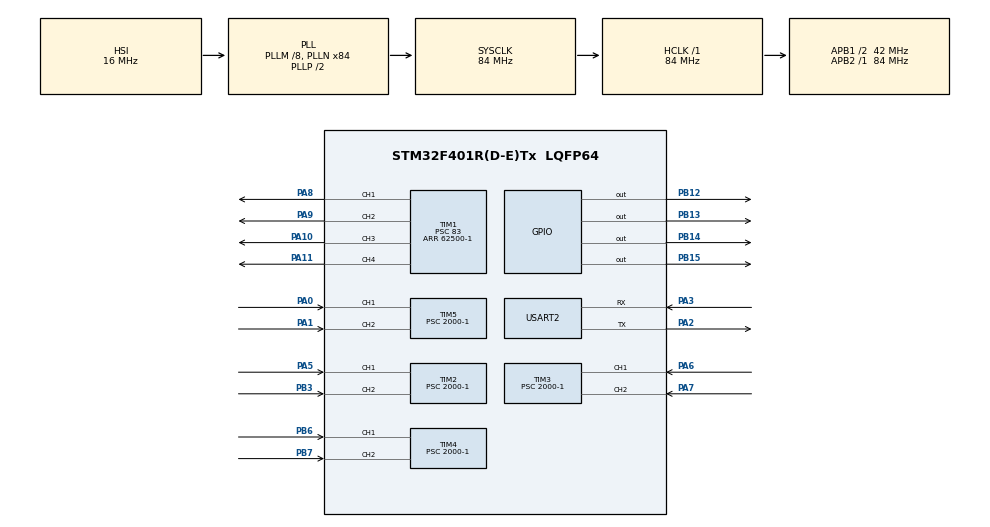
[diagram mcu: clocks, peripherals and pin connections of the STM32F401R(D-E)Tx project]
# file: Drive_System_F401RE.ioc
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Dma.Request0=USART2_RX
Dma.USART2_RX.0.Direction=DMA_PERIPH_TO_MEMORY
Dma.USART2_RX.0.FIFOMode=DMA_FIFOMODE_DISABLE
Dma.USART2_RX.0.Instance=DMA1_Stream5
Dma.USART2_RX.0.MemDataAlignment=DMA_MDATAALIGN_BYTE
Dma.USART2_RX.0.MemInc=DMA_MINC_ENABLE
Dma.USART2_RX.0.Mode=DMA_CIRCULAR
Dma.USART2_RX.0.PeriphDataAlignment=DMA_PDATAALIGN_BYTE
Dma.USART2_RX.0.PeriphInc=DMA_PINC_DISABLE
Dma.USART2_RX.0.Priority=DMA_PRIORITY_HIGH
Mcu.Family=STM32F4
Mcu.Name=STM32F401R(D-E)Tx
Mcu.Package=LQFP64
NVIC.DMA1_Stream5_IRQn=true\:0\:0\:false\:false\:true\:false\:true\:true
NVIC.PriorityGroup=NVIC_PRIORITYGROUP_4
NVIC.TIM1_BRK_TIM9_IRQn=true\:0\:0\:false\:false\:true\:true\:true\:true
NVIC.TIM2_IRQn=true\:0\:0\:false\:false\:true\:true\:true\:true
NVIC.TIM3_IRQn=true\:0\:0\:false\:false\:true\:true\:true\:true
NVIC.TIM4_IRQn=true\:0\:0\:false\:false\:true\:true\:true\:true
NVIC.TIM5_IRQn=true\:0\:0\:false\:false\:true\:true\:true\:true
PA0-WKUP.Signal=S_TIM5_CH1
PA1.Signal=S_TIM5_CH2
PA10.Signal=S_TIM1_CH3
PA11.Signal=S_TIM1_CH4
PA2.Mode=Asynchronous
PA2.Signal=USART2_TX
PA3.Mode=Asynchronous
PA3.Signal=USART2_RX
PA5.Signal=S_TIM2_CH1_ETR
PA6.Signal=S_TIM3_CH1
PA7.Signal=S_TIM3_CH2
PA8.Signal=S_TIM1_CH1
PA9.Signal=S_TIM1_CH2
PB12.Signal=GPIO_Output
PB13.Signal=GPIO_Output
PB14.Signal=GPIO_Output
PB15.Signal=GPIO_Output
PB3.Signal=S_TIM2_CH2
PB6.Signal=S_TIM4_CH1
PB7.Signal=S_TIM4_CH2
ProjectManager.HeapSize=0x200
ProjectManager.StackSize=0x400
ProjectManager.TargetToolchain=STM32CubeIDE
RCC.48MHZClocksFreq_Value=42000000
RCC.AHBFreq_Value=84000000
RCC.APB1CLKDivider=RCC_HCLK_DIV2
RCC.APB1Freq_Value=42000000
RCC.APB1TimFreq_Value=84000000
RCC.APB2Freq_Value=84000000
RCC.APB2TimFreq_Value=84000000
RCC.CortexFreq_Value=84000000
RCC.HCLKFreq_Value=84000000
RCC.HSE_VALUE=25000000
RCC.HSI_VALUE=16000000
RCC.LSE_VALUE=32768
RCC.PLLM=8
RCC.PLLN=84
RCC.SYSCLKFreq_VALUE=84000000
RCC.SYSCLKSource=RCC_SYSCLKSOURCE_PLLCLK
RCC.VCOOutputFreq_Value=168000000
SH.S_TIM1_CH1.0=TIM1_CH1,PWM Generation1 CH1
SH.S_TIM1_CH2.0=TIM1_CH2,PWM Generation2 CH2
SH.S_TIM1_CH3.0=TIM1_CH3,PWM Generation3 CH3
SH.S_TIM1_CH4.0=TIM1_CH4,PWM Generation4 CH4
SH.S_TIM2_CH1_ETR.0=TIM2_CH1,Input_Capture1_from_TI1
SH.S_TIM2_CH2.0=TIM2_CH2,Input_Capture2_from_TI2
SH.S_TIM3_CH1.0=TIM3_CH1,Input_Capture1_from_TI1
SH.S_TIM3_CH2.0=TIM3_CH2,Input_Capture2_from_TI2
SH.S_TIM4_CH1.0=TIM4_CH1,Input_Capture1_from_TI1
SH.S_TIM4_CH2.0=TIM4_CH2,Input_Capture2_from_TI2
SH.S_TIM5_CH1.0=TIM5_CH1,Input_Capture1_from_TI1
SH.S_TIM5_CH2.0=TIM5_CH2,Input_Capture2_from_TI2
TIM1.Channel-PWM\ Generation1\ CH1=TIM_CHANNEL_1
TIM1.Channel-PWM\ Generation2\ CH2=TIM_CHANNEL_2
TIM1.Channel-PWM\ Generation3\ CH3=TIM_CHANNEL_3
TIM1.Channel-PWM\ Generation4\ CH4=TIM_CHANNEL_4
TIM1.Period=62500-1
TIM1.Prescaler=83
TIM2.Channel-Input_Capture1_from_TI1=TIM_CHANNEL_1
TIM2.Channel-Input_Capture2_from_TI2=TIM_CHANNEL_2
TIM2.Period=42000-1
TIM2.Prescaler=2000-1
TIM3.Channel-Input_Capture1_from_TI1=TIM_CHANNEL_1
TIM3.Channel-Input_Capture2_from_TI2=TIM_CHANNEL_2
TIM3.Period=42000-1
TIM3.Prescaler=2000-1
TIM4.Channel-Input_Capture1_from_TI1=TIM_CHANNEL_1
TIM4.Channel-Input_Capture2_from_TI2=TIM_CHANNEL_2
TIM4.Period=42000-1
TIM4.Prescaler=2000-1
TIM5.Channel-Input_Capture1_from_TI1=TIM_CHANNEL_1
TIM5.Channel-Input_Capture2_from_TI2=TIM_CHANNEL_2
TIM5.Period=42000-1
TIM5.Prescaler=2000-1
TIM9.Period=42000-1
TIM9.Prescaler=20-1
USART2.VirtualMode=VM_ASYNC
VP_TIM9_VS_ClockSourceINT.Mode=Internal
board=custom

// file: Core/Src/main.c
/* USER CODE BEGIN Header */
/**
  ******************************************************************************
  * @file           : main.c
  * @brief          : Main program body
  ******************************************************************************
  * @attention
  *
  * Copyright (c) 2022 STMicroelectronics.
  * All rights reserved.
  *
  * This software is licensed under terms that can be found in the LICENSE file
  * in the root directory of this software component.
  * If no LICENSE file comes with this software, it is provided AS-IS.
  *
  ******************************************************************************
  */
/* USER CODE END Header */
#include "main.h"

/* USER CODE BEGIN Includes */
#include "DC_MOTORS.h"
#include "stdlib.h"
#include <stdbool.h>
#include <math.h>
/* USER CODE END Includes */

TIM_HandleTypeDef htim1;
TIM_HandleTypeDef htim2;
TIM_HandleTypeDef htim3;
TIM_HandleTypeDef htim4;
TIM_HandleTypeDef htim5;
TIM_HandleTypeDef htim9;

UART_HandleTypeDef huart2;
DMA_HandleTypeDef hdma_usart2_rx;

void SystemClock_Config(void);
static void MX_GPIO_Init(void);
static void MX_DMA_Init(void);
static void MX_TIM1_Init(void);
static void MX_USART2_UART_Init(void);
static void MX_TIM3_Init(void);
static void MX_TIM4_Init(void);
static void MX_TIM2_Init(void);
static void MX_TIM5_Init(void);
static void MX_TIM9_Init(void);

/* USER CODE BEGIN 0 */
volatile uint32_t LeftFront_EncoderCounter = 0;
volatile uint32_t RightFront_EncoderCounter = 0;

volatile uint32_t LeftRear_EncoderCounter = 0;
volatile uint32_t RightRear_EncoderCounter = 0;

volatile bool velocityCalculationFlag = true;

//--------------------- PID --------------------------------//

volatile bool pidFlag = false;

//float setVelocity = 3.2;

//--------------------- RX Data ----------------------------//
uint8_t rxbuff[8];
uint8_t txbuff[16];
uint8_t txempty;
uint8_t rxfull;

int32_t linear_number;
int32_t angular_number;

float linearVel_MeterDivSec = 0.0;
float angularVel_RadDivSec = 0.0;

int16_t speedLeftWHL = 0;
int16_t speedRightWHL = 0;

void HAL_UART_RxCpltCallback(UART_HandleTypeDef *huart){
  if (huart == &huart2)
  {
    rxfull = 1;
  }
}

//        //	HAL_TIM_ACTIVE_CHANNEL_1 ||------|| HAL_TIM_ACTIVE_CHANNEL_2
//        //	   	         				|  |
//        //		         				|  |
//        //	HAL_TIM_ACTIVE_CHANNEL_3 ||------|| HAL_TIM_ACTIVE_CHANNEL_4

void HAL_TIM_IC_CaptureCallback(TIM_HandleTypeDef *htim){

	 if((htim->Instance == TIM2) && (htim->Channel == HAL_TIM_ACTIVE_CHANNEL_1)){

		 LeftFront_EncoderCounter++;
//		if(velocityCalculationFlag_WHL_1){
//			//HAL_TIM_Base_Start_IT(&htim4);
//			velocityCalculationFlag_WHL_1 = false;
//		}
	 }
	 if((htim->Instance == TIM3) && (htim->Channel == HAL_TIM_ACTIVE_CHANNEL_1)){

		 RightFront_EncoderCounter++;
//		if(velocityCalculationFlag_WHL_2){
//			//HAL_TIM_Base_Start_IT(&htim4);
//			velocityCalculationFlag_WHL_2 = false;
//		}
	 }
	 if((htim->Instance == TIM4) && (htim->Channel == HAL_TIM_ACTIVE_CHANNEL_1)){

		 LeftRear_EncoderCounter++;
//		if(velocityCalculationFlag_WHL_3){
//			//HAL_TIM_Base_Start_IT(&htim4);
//			velocityCalculationFlag_WHL_3 = false;
//		}
	 }
	 if((htim->Instance == TIM5) && (htim->Channel == HAL_TIM_ACTIVE_CHANNEL_1)){

		 RightRear_EncoderCounter++;
//		if(velocityCalculationFlag_WHL_4){
//			//HAL_TIM_Base_Start_IT(&htim4);
//			velocityCalculationFlag_WHL_4 = false;
//		}
	 }
}

void HAL_TIM_PeriodElapsedCallback(TIM_HandleTypeDef *htim){

	velocityCalculationFlag = true;

//	HAL_TIM_Base_Stop_IT(&htim4);
}

/* USER CODE END 0 */

int main(void)
{
  /* USER CODE BEGIN 1 */

//        	0,2,4,6 IN1 for forward
//        	1,3,5,7 IN2 for backward
//
//          Left (+) a. vel.		Right (-) a. vel.
//
//        	Pin_B 0,1 ||------|| Pin_B 4,5
//        	   	         |  |
//        		         |  |
//        	Pin_B 2,3 ||------|| Pin_B 6,7

  /* USER CODE END 1 */

  /* MCU Configuration--------------------------------------------------------*/

  /* Reset of all peripherals, Initializes the Flash interface and the Systick. */
  HAL_Init();

  /* Configure the system clock */
  SystemClock_Config();

  /* Initialize all configured peripherals */
  MX_GPIO_Init();
  MX_DMA_Init();
  MX_TIM1_Init();
  MX_USART2_UART_Init();
  MX_TIM3_Init();
  MX_TIM4_Init();
  MX_TIM2_Init();
  MX_TIM5_Init();
  MX_TIM9_Init();
  /* USER CODE BEGIN 2 */
  HAL_TIM_PWM_Start(&htim1, TIM_CHANNEL_1);
  HAL_TIM_PWM_Start(&htim1, TIM_CHANNEL_2);
  HAL_TIM_PWM_Start(&htim1, TIM_CHANNEL_3);
  HAL_TIM_PWM_Start(&htim1, TIM_CHANNEL_4);

  /*------------------------ Encoders -------------------------*/
  HAL_TIM_IC_Start_IT(&htim2, TIM_CHANNEL_1);
  HAL_TIM_IC_Start_IT(&htim3, TIM_CHANNEL_1);
  HAL_TIM_IC_Start_IT(&htim4, TIM_CHANNEL_1);
  HAL_TIM_IC_Start_IT(&htim5, TIM_CHANNEL_1);
  HAL_TIM_Base_Start_IT(&htim9);

  struct WHEEL L_Front_WHL = {0, 0.0, 0.0, 0.0, 0.0, 0.0, 0.0, 0};
  struct WHEEL R_Front_WHL = {0, 0.0, 0.0, 0.0, 0.0, 0.0, 0.0, 0};
  struct WHEEL L_Rear_WHL = {0, 0.0, 0.0, 0.0, 0.0, 0.0, 0.0, 0};
  struct WHEEL R_Rear_WHL = {0, 0.0, 0.0, 0.0, 0.0, 0.0, 0.0, 0};

  HAL_UART_Receive_DMA(&huart2, rxbuff, 8);
  rxfull = 0;

  /* USER CODE END 2 */

  /* Infinite loop */
  while (1)
  {

    /* USER CODE BEGIN 3 */
      if (rxfull == 1){
        rxfull = 0;
        linear_number = (int32_t)(rxbuff[0]<<24) + (int32_t)(rxbuff[1]<<16) + (int32_t)(rxbuff[2]<<8) + rxbuff[3];
        angular_number = (int32_t)(rxbuff[4]<<24) + (int32_t)(rxbuff[5]<<16) + (int32_t)(rxbuff[6]<<8) + rxbuff[7];

        linearVel_MeterDivSec = (float)(linear_number/10000000);
        angularVel_RadDivSec = (float)(angular_number/10000000);

		speedLeftWHL = (linearVel_MeterDivSec - angularVel_RadDivSec);
		speedRightWHL = (linearVel_MeterDivSec + angularVel_RadDivSec);

     }

     if(velocityCalculationFlag){

    	 //------------------------------------------- 1 ---------------------------------------//

		 L_Front_WHL.encoderCount = LeftFront_EncoderCounter;
		 LeftFront_EncoderCounter = 0; // clear the counter

		 L_Front_WHL.rotationWheel = ((float)L_Front_WHL.encoderCount*100.0)/(float)(1024*100);
		 L_Front_WHL.rotationEncoder = ((float)L_Front_WHL.encoderCount*100.0)/(float)(1024); // not necessary, just for control

		 // check the math
		 L_Front_WHL.wheelRPM = (L_Front_WHL.rotationWheel)*60;
		 L_Front_WHL.wheelRadDivSec = (L_Front_WHL.wheelRPM)*RPMtoRadDivSec;

		 L_Front_WHL.errorPI = (fabs(speedLeftWHL)) - L_Front_WHL.wheelRadDivSec;
		 L_Front_WHL.integralPI += L_Front_WHL.errorPI;

		 //pwmSignal = Kp*error + Ki*integral;
		 if(speedLeftWHL > 0)
			 L_Front_WHL.signalPWM = 1525 + (KP*L_Front_WHL.errorPI + KI*L_Front_WHL.integralPI);
		 else if(speedLeftWHL == 0)		// ??? check this condition
			 L_Front_WHL.signalPWM = 0;
		 else
			 L_Front_WHL.signalPWM = 1525 - (KP*L_Front_WHL.errorPI + KI*L_Front_WHL.integralPI);

		 //------------------------------------------- 2 ---------------------------------------//
		 R_Front_WHL.encoderCount = RightFront_EncoderCounter;
		 RightFront_EncoderCounter = 0; // clear the counter

		 R_Front_WHL.rotationWheel = ((float)R_Front_WHL.encoderCount*100.0)/(float)(1024*100);
		 R_Front_WHL.rotationEncoder = ((float)R_Front_WHL.encoderCount*100.0)/(float)(1024); // not necessary, just for control

		 // check the math
		 R_Front_WHL.wheelRPM = (R_Front_WHL.rotationWheel)*60;
		 R_Front_WHL.wheelRadDivSec = (R_Front_WHL.wheelRPM)*RPMtoRadDivSec;

		 R_Front_WHL.errorPI = (fabs(speedLeftWHL)) - R_Front_WHL.wheelRadDivSec;
		 R_Front_WHL.integralPI += R_Front_WHL.errorPI;

		 //pwmSignal = Kp*error + Ki*integral;
		 if(speedLeftWHL > 0)
			 R_Front_WHL.signalPWM = 1525 + (KP*R_Front_WHL.errorPI + KI*R_Front_WHL.integralPI);
		 else if(speedLeftWHL == 0)		// ??? check this condition
			 R_Front_WHL.signalPWM = 0;
		 else
			 R_Front_WHL.signalPWM = 1525 - (KP*R_Front_WHL.errorPI + KI*R_Front_WHL.integralPI);
		 //------------------------------------------- 3 ---------------------------------------//
		 L_Rear_WHL.encoderCount = LeftRear_EncoderCounter;
		 LeftRear_EncoderCounter = 0; // clear the counter

		 L_Rear_WHL.rotationWheel = ((float)L_Rear_WHL.encoderCount*100.0)/(float)(1024*100);
		 L_Rear_WHL.rotationEncoder = ((float)L_Rear_WHL.encoderCount*100.0)/(float)(1024); // not necessary, just for control

		 // check the math
		 L_Rear_WHL.wheelRPM = (L_Rear_WHL.rotationWheel)*60;
		 L_Rear_WHL.wheelRadDivSec = (L_Rear_WHL.wheelRPM)*RPMtoRadDivSec;

		 L_Rear_WHL.errorPI = (fabs(speedLeftWHL)) - L_Rear_WHL.wheelRadDivSec;
		 L_Rear_WHL.integralPI += L_Rear_WHL.errorPI;

		 //pwmSignal = Kp*error + Ki*integral;
		 if(speedLeftWHL > 0)
			 L_Rear_WHL.signalPWM = 1525 + (KP*L_Rear_WHL.errorPI + KI*L_Rear_WHL.integralPI);
		 else if(speedLeftWHL == 0)		// ??? check this condition
			 L_Rear_WHL.signalPWM = 0;
		 else
			 L_Rear_WHL.signalPWM = 1525 - (KP*L_Rear_WHL.errorPI + KI*L_Rear_WHL.integralPI);
		 //------------------------------------------- 4 ---------------------------------------//
		 R_Rear_WHL.encoderCount = RightRear_EncoderCounter;
		 RightRear_EncoderCounter = 0; // clear the counter

		 R_Rear_WHL.rotationWheel = ((float)R_Rear_WHL.encoderCount*100.0)/(float)(1024*100);
		 R_Rear_WHL.rotationEncoder = ((float)R_Rear_WHL.encoderCount*100.0)/(float)(1024); // not necessary, just for control

		 // check the math
		 R_Rear_WHL.wheelRPM = (R_Rear_WHL.rotationWheel)*60;
		 R_Rear_WHL.wheelRadDivSec = (R_Rear_WHL.wheelRPM)*RPMtoRadDivSec;

		 R_Rear_WHL.errorPI = (fabs(speedLeftWHL)) - R_Rear_WHL.wheelRadDivSec;
		 R_Rear_WHL.integralPI += R_Rear_WHL.errorPI;

		 //pwmSignal = Kp*error + Ki*integral;
		 if(speedLeftWHL > 0)
			 R_Rear_WHL.signalPWM = 1525 + (KP*R_Rear_WHL.errorPI + KI*R_Rear_WHL.integralPI);
		 else if(speedLeftWHL == 0)		// ??? check this condition
			 R_Rear_WHL.signalPWM = 0;
		 else
			 R_Rear_WHL.signalPWM = 1525 - (KP*R_Rear_WHL.errorPI + KI*R_Rear_WHL.integralPI);

		 velocityCalculationFlag = false;
     }

//---------------------------------- 12.04.23 -----------------------------------------------------------//
/*

		if(pwmSignal == 0)
			pwmSignal2 = 1525;
		else if(pwmSignal > 1750)
			pwmSignal2 = 1750;
		else if(pwmSignal < 1250)
			pwmSignal2 = 1250;
		else
			pwmSignal2 = pwmSignal;

		htim1.Instance->CCR1 = pwmSignal2;
		htim1.Instance->CCR2 = pwmSignal2;
		htim1.Instance->CCR3 = pwmSignal2;
		htim1.Instance->CCR4 = pwmSignal2;
*/
//---------------------------------- 12.04.23 -----------------------------------------------------------//

  }
  /* USER CODE END 3 */
}

void SystemClock_Config(void)
{
  RCC_OscInitTypeDef RCC_OscInitStruct = {0};
  RCC_ClkInitTypeDef RCC_ClkInitStruct = {0};

  /** Configure the main internal regulator output voltage
  */
  __HAL_RCC_PWR_CLK_ENABLE();
  __HAL_PWR_VOLTAGESCALING_CONFIG(PWR_REGULATOR_VOLTAGE_SCALE2);
  /** Initializes the RCC Oscillators according to the specified parameters
  * in the RCC_OscInitTypeDef structure.
  */
  RCC_OscInitStruct.OscillatorType = RCC_OSCILLATORTYPE_HSI;
  RCC_OscInitStruct.HSIState = RCC_HSI_ON;
  RCC_OscInitStruct.HSICalibrationValue = RCC_HSICALIBRATION_DEFAULT;
  RCC_OscInitStruct.PLL.PLLState = RCC_PLL_ON;
  RCC_OscInitStruct.PLL.PLLSource = RCC_PLLSOURCE_HSI;
  RCC_OscInitStruct.PLL.PLLM = 8;
  RCC_OscInitStruct.PLL.PLLN = 84;
  RCC_OscInitStruct.PLL.PLLP = RCC_PLLP_DIV2;
  RCC_OscInitStruct.PLL.PLLQ = 4;
  if (HAL_RCC_OscConfig(&RCC_OscInitStruct) != HAL_OK)
  {
    Error_Handler();
  }
  /** Initializes the CPU, AHB and APB buses clocks
  */
  RCC_ClkInitStruct.ClockType = RCC_CLOCKTYPE_HCLK|RCC_CLOCKTYPE_SYSCLK
                              |RCC_CLOCKTYPE_PCLK1|RCC_CLOCKTYPE_PCLK2;
  RCC_ClkInitStruct.SYSCLKSource = RCC_SYSCLKSOURCE_PLLCLK;
  RCC_ClkInitStruct.AHBCLKDivider = RCC_SYSCLK_DIV1;
  RCC_ClkInitStruct.APB1CLKDivider = RCC_HCLK_DIV2;
  RCC_ClkInitStruct.APB2CLKDivider = RCC_HCLK_DIV1;

  if (HAL_RCC_ClockConfig(&RCC_ClkInitStruct, FLASH_LATENCY_2) != HAL_OK)
  {
    Error_Handler();
  }
}

static void MX_TIM1_Init(void)
{

  TIM_MasterConfigTypeDef sMasterConfig = {0};
  TIM_OC_InitTypeDef sConfigOC = {0};
  TIM_BreakDeadTimeConfigTypeDef sBreakDeadTimeConfig = {0};

  htim1.Instance = TIM1;
  htim1.Init.Prescaler = 83;
  htim1.Init.CounterMode = TIM_COUNTERMODE_UP;
  htim1.Init.Period = 62500-1;
  htim1.Init.ClockDivision = TIM_CLOCKDIVISION_DIV1;
  htim1.Init.RepetitionCounter = 0;
  htim1.Init.AutoReloadPreload = TIM_AUTORELOAD_PRELOAD_DISABLE;
  if (HAL_TIM_PWM_Init(&htim1) != HAL_OK)
  {
    Error_Handler();
  }
  sMasterConfig.MasterOutputTrigger = TIM_TRGO_RESET;
  sMasterConfig.MasterSlaveMode = TIM_MASTERSLAVEMODE_DISABLE;
  if (HAL_TIMEx_MasterConfigSynchronization(&htim1, &sMasterConfig) != HAL_OK)
  {
    Error_Handler();
  }
  sConfigOC.OCMode = TIM_OCMODE_PWM1;
  sConfigOC.Pulse = 0;
  sConfigOC.OCPolarity = TIM_OCPOLARITY_HIGH;
  sConfigOC.OCNPolarity = TIM_OCNPOLARITY_HIGH;
  sConfigOC.OCFastMode = TIM_OCFAST_DISABLE;
  sConfigOC.OCIdleState = TIM_OCIDLESTATE_RESET;
  sConfigOC.OCNIdleState = TIM_OCNIDLESTATE_RESET;
  if (HAL_TIM_PWM_ConfigChannel(&htim1, &sConfigOC, TIM_CHANNEL_1) != HAL_OK)
  {
    Error_Handler();
  }
  if (HAL_TIM_PWM_ConfigChannel(&htim1, &sConfigOC, TIM_CHANNEL_2) != HAL_OK)
  {
    Error_Handler();
  }
  if (HAL_TIM_PWM_ConfigChannel(&htim1, &sConfigOC, TIM_CHANNEL_3) != HAL_OK)
  {
    Error_Handler();
  }
  if (HAL_TIM_PWM_ConfigChannel(&htim1, &sConfigOC, TIM_CHANNEL_4) != HAL_OK)
  {
    Error_Handler();
  }
  sBreakDeadTimeConfig.OffStateRunMode = TIM_OSSR_DISABLE;
  sBreakDeadTimeConfig.OffStateIDLEMode = TIM_OSSI_DISABLE;
  sBreakDeadTimeConfig.LockLevel = TIM_LOCKLEVEL_OFF;
  sBreakDeadTimeConfig.DeadTime = 0;
  sBreakDeadTimeConfig.BreakState = TIM_BREAK_DISABLE;
  sBreakDeadTimeConfig.BreakPolarity = TIM_BREAKPOLARITY_HIGH;
  sBreakDeadTimeConfig.AutomaticOutput = TIM_AUTOMATICOUTPUT_DISABLE;
  if (HAL_TIMEx_ConfigBreakDeadTime(&htim1, &sBreakDeadTimeConfig) != HAL_OK)
  {
    Error_Handler();
  }
  HAL_TIM_MspPostInit(&htim1);

}

static void MX_TIM2_Init(void)
{

  TIM_MasterConfigTypeDef sMasterConfig = {0};
  TIM_IC_InitTypeDef sConfigIC = {0};

  htim2.Instance = TIM2;
  htim2.Init.Prescaler = 2000-1;
  htim2.Init.CounterMode = TIM_COUNTERMODE_UP;
  htim2.Init.Period = 42000-1;
  htim2.Init.ClockDivision = TIM_CLOCKDIVISION_DIV1;
  htim2.Init.AutoReloadPreload = TIM_AUTORELOAD_PRELOAD_DISABLE;
  if (HAL_TIM_IC_Init(&htim2) != HAL_OK)
  {
    Error_Handler();
  }
  sMasterConfig.MasterOutputTrigger = TIM_TRGO_RESET;
  sMasterConfig.MasterSlaveMode = TIM_MASTERSLAVEMODE_DISABLE;
  if (HAL_TIMEx_MasterConfigSynchronization(&htim2, &sMasterConfig) != HAL_OK)
  {
    Error_Handler();
  }
  sConfigIC.ICPolarity = TIM_INPUTCHANNELPOLARITY_RISING;
  sConfigIC.ICSelection = TIM_ICSELECTION_DIRECTTI;
  sConfigIC.ICPrescaler = TIM_ICPSC_DIV1;
  sConfigIC.ICFilter = 0;
  if (HAL_TIM_IC_ConfigChannel(&htim2, &sConfigIC, TIM_CHANNEL_1) != HAL_OK)
  {
    Error_Handler();
  }
  if (HAL_TIM_IC_ConfigChannel(&htim2, &sConfigIC, TIM_CHANNEL_2) != HAL_OK)
  {
    Error_Handler();
  }

}

static void MX_TIM3_Init(void)
{

  TIM_MasterConfigTypeDef sMasterConfig = {0};
  TIM_IC_InitTypeDef sConfigIC = {0};

  htim3.Instance = TIM3;
  htim3.Init.Prescaler = 2000-1;
  htim3.Init.CounterMode = TIM_COUNTERMODE_UP;
  htim3.Init.Period = 42000-1;
  htim3.Init.ClockDivision = TIM_CLOCKDIVISION_DIV1;
  htim3.Init.AutoReloadPreload = TIM_AUTORELOAD_PRELOAD_DISABLE;
  if (HAL_TIM_IC_Init(&htim3) != HAL_OK)
  {
    Error_Handler();
  }
  sMasterConfig.MasterOutputTrigger = TIM_TRGO_RESET;
  sMasterConfig.MasterSlaveMode = TIM_MASTERSLAVEMODE_DISABLE;
  if (HAL_TIMEx_MasterConfigSynchronization(&htim3, &sMasterConfig) != HAL_OK)
  {
    Error_Handler();
  }
  sConfigIC.ICPolarity = TIM_INPUTCHANNELPOLARITY_RISING;
  sConfigIC.ICSelection = TIM_ICSELECTION_DIRECTTI;
  sConfigIC.ICPrescaler = TIM_ICPSC_DIV1;
  sConfigIC.ICFilter = 0;
  if (HAL_TIM_IC_ConfigChannel(&htim3, &sConfigIC, TIM_CHANNEL_1) != HAL_OK)
  {
    Error_Handler();
  }
  if (HAL_TIM_IC_ConfigChannel(&htim3, &sConfigIC, TIM_CHANNEL_2) != HAL_OK)
  {
    Error_Handler();
  }

}

static void MX_TIM4_Init(void)
{

  TIM_MasterConfigTypeDef sMasterConfig = {0};
  TIM_IC_InitTypeDef sConfigIC = {0};

  htim4.Instance = TIM4;
  htim4.Init.Prescaler = 2000-1;
  htim4.Init.CounterMode = TIM_COUNTERMODE_UP;
  htim4.Init.Period = 42000-1;
  htim4.Init.ClockDivision = TIM_CLOCKDIVISION_DIV1;
  htim4.Init.AutoReloadPreload = TIM_AUTORELOAD_PRELOAD_DISABLE;
  if (HAL_TIM_IC_Init(&htim4) != HAL_OK)
  {
    Error_Handler();
  }
  sMasterConfig.MasterOutputTrigger = TIM_TRGO_RESET;
  sMasterConfig.MasterSlaveMode = TIM_MASTERSLAVEMODE_DISABLE;
  if (HAL_TIMEx_MasterConfigSynchronization(&htim4, &sMasterConfig) != HAL_OK)
  {
    Error_Handler();
  }
  sConfigIC.ICPolarity = TIM_INPUTCHANNELPOLARITY_RISING;
  sConfigIC.ICSelection = TIM_ICSELECTION_DIRECTTI;
  sConfigIC.ICPrescaler = TIM_ICPSC_DIV1;
  sConfigIC.ICFilter = 0;
  if (HAL_TIM_IC_ConfigChannel(&htim4, &sConfigIC, TIM_CHANNEL_1) != HAL_OK)
  {
    Error_Handler();
  }
  if (HAL_TIM_IC_ConfigChannel(&htim4, &sConfigIC, TIM_CHANNEL_2) != HAL_OK)
  {
    Error_Handler();
  }

}

static void MX_TIM5_Init(void)
{

  TIM_MasterConfigTypeDef sMasterConfig = {0};
  TIM_IC_InitTypeDef sConfigIC = {0};

  htim5.Instance = TIM5;
  htim5.Init.Prescaler = 2000-1;
  htim5.Init.CounterMode = TIM_COUNTERMODE_UP;
  htim5.Init.Period = 42000-1;
  htim5.Init.ClockDivision = TIM_CLOCKDIVISION_DIV1;
  htim5.Init.AutoReloadPreload = TIM_AUTORELOAD_PRELOAD_DISABLE;
  if (HAL_TIM_IC_Init(&htim5) != HAL_OK)
  {
    Error_Handler();
  }
  sMasterConfig.MasterOutputTrigger = TIM_TRGO_RESET;
  sMasterConfig.MasterSlaveMode = TIM_MASTERSLAVEMODE_DISABLE;
  if (HAL_TIMEx_MasterConfigSynchronization(&htim5, &sMasterConfig) != HAL_OK)
  {
    Error_Handler();
  }
  sConfigIC.ICPolarity = TIM_INPUTCHANNELPOLARITY_RISING;
  sConfigIC.ICSelection = TIM_ICSELECTION_DIRECTTI;
  sConfigIC.ICPrescaler = TIM_ICPSC_DIV1;
  sConfigIC.ICFilter = 0;
  if (HAL_TIM_IC_ConfigChannel(&htim5, &sConfigIC, TIM_CHANNEL_1) != HAL_OK)
  {
    Error_Handler();
  }
  if (HAL_TIM_IC_ConfigChannel(&htim5, &sConfigIC, TIM_CHANNEL_2) != HAL_OK)
  {
    Error_Handler();
  }

}

static void MX_TIM9_Init(void)
{

  TIM_ClockConfigTypeDef sClockSourceConfig = {0};

  htim9.Instance = TIM9;
  htim9.Init.Prescaler = 20-1;
  htim9.Init.CounterMode = TIM_COUNTERMODE_UP;
  htim9.Init.Period = 42000-1;
  htim9.Init.ClockDivision = TIM_CLOCKDIVISION_DIV1;
  htim9.Init.AutoReloadPreload = TIM_AUTORELOAD_PRELOAD_DISABLE;
  if (HAL_TIM_Base_Init(&htim9) != HAL_OK)
  {
    Error_Handler();
  }
  sClockSourceConfig.ClockSource = TIM_CLOCKSOURCE_INTERNAL;
  if (HAL_TIM_ConfigClockSource(&htim9, &sClockSourceConfig) != HAL_OK)
  {
    Error_Handler();
  }

}

static void MX_USART2_UART_Init(void)
{

  huart2.Instance = USART2;
  huart2.Init.BaudRate = 115200;
  huart2.Init.WordLength = UART_WORDLENGTH_8B;
  huart2.Init.StopBits = UART_STOPBITS_1;
  huart2.Init.Parity = UART_PARITY_NONE;
  huart2.Init.Mode = UART_MODE_TX_RX;
  huart2.Init.HwFlowCtl = UART_HWCONTROL_NONE;
  huart2.Init.OverSampling = UART_OVERSAMPLING_16;
  if (HAL_UART_Init(&huart2) != HAL_OK)
  {
    Error_Handler();
  }

}

static void MX_DMA_Init(void)
{

  /* DMA controller clock enable */
  __HAL_RCC_DMA1_CLK_ENABLE();

  /* DMA interrupt init */
  /* DMA1_Stream5_IRQn interrupt configuration */
  HAL_NVIC_SetPriority(DMA1_Stream5_IRQn, 0, 0);
  HAL_NVIC_EnableIRQ(DMA1_Stream5_IRQn);

}

static void MX_GPIO_Init(void)
{
  GPIO_InitTypeDef GPIO_InitStruct = {0};

  /* GPIO Ports Clock Enable */
  __HAL_RCC_GPIOA_CLK_ENABLE();
  __HAL_RCC_GPIOB_CLK_ENABLE();

  /*Configure GPIO pin Output Level */
  HAL_GPIO_WritePin(GPIOB, GPIO_PIN_12|GPIO_PIN_13|GPIO_PIN_14|GPIO_PIN_15, GPIO_PIN_RESET);

  /*Configure GPIO pins : PB12 PB13 PB14 PB15 */
  GPIO_InitStruct.Pin = GPIO_PIN_12|GPIO_PIN_13|GPIO_PIN_14|GPIO_PIN_15;
  GPIO_InitStruct.Mode = GPIO_MODE_OUTPUT_PP;
  GPIO_InitStruct.Pull = GPIO_NOPULL;
  GPIO_InitStruct.Speed = GPIO_SPEED_FREQ_LOW;
  HAL_GPIO_Init(GPIOB, &GPIO_InitStruct);

}

void Error_Handler(void)
{
  __disable_irq();
  while (1)
  {
  }
}
